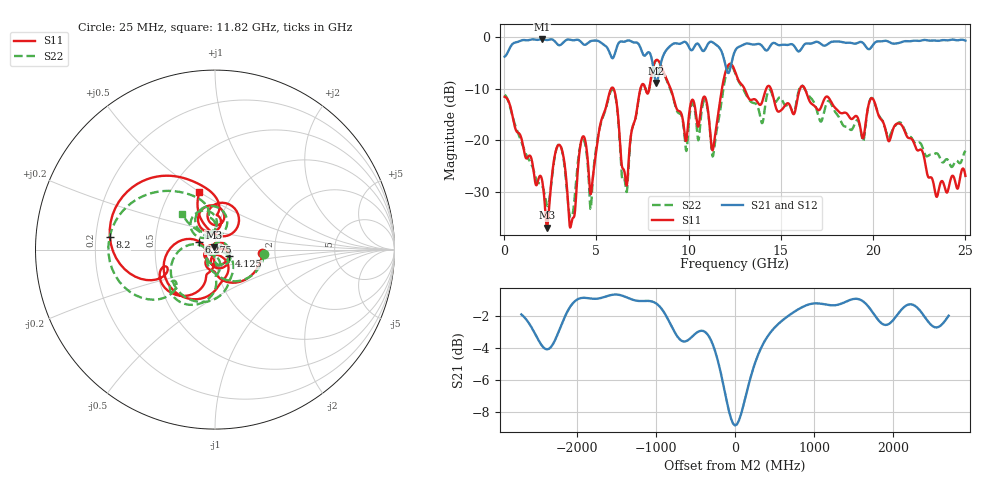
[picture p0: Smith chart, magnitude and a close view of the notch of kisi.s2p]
! RG_s4_pwr_n4: Finite board 24 × 16 mm, via L1 → L4 through the GND/PWR pair L2/L3, four GND vias at 1 mm joined to L2 only (openings in the PWR plane L3)
! stackup: 4-layer 1.6 mm FR-4
! ports: 1 L1, 2 L4
! kisi-fdtd, conformal, dfine 0.07 mm, 805736 cells
# Hz S RI R 50
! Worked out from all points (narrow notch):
!   1000 points, 25 MHz to 25 GHz, reference 50 ohm
!   highest |S21| = -0.38 dB at 2.05 GHz (marker M1); lowest = -8.9 dB at 8.25 GHz (marker M2)
!   notch at M2: 7.7 dB deep, 453 MHz wide at half that depth
!   lowest |S11| = -36.9 dB at 2.325 GHz (marker M3), VSWR 1.03, Z = 49.2 + j1.2 ohm
!   |S11| at or under -10 dB: start of sweep to 5.794 GHz; 9.025 GHz to 11.8 GHz (2.78 GHz wide, 26.7 % of centre); 16.3 GHz to end of sweep (the widest 3 of 7)
!   |S22| runs from -34.8 to -4.5 dB; largest |S21 - S12| = 0.0087
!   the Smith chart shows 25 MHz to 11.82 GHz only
!   S11 on the Smith chart (normalised r, x): 25 MHz: 1.71, -0.08; 4.125 GHz: 1.17, -0.09; 6.275 GHz: 0.84, +0.07; 8.2 GHz: 0.26, +0.06; 11.82 GHz: 0.69, +0.50
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2.5e7  0.2638 -0.0209  0.6479 0.0123  0.6415 0.0144  0.2744 -0.0234
2.05e9  -0.0375 0.0181  0.6657 -0.6877  0.6631 -0.6827  -0.0343 0.0129
2.325e9  -0.00744 0.0122  0.5606 -0.7512  0.5611 -0.7565  -0.00877 0.0218
2.975e9  0.0402 -0.0813  0.3036 -0.7778  0.2992 -0.7762  0.0534 -0.0748
3.675e9  0.0167 0.00226  0.087 -0.93  0.091 -0.9295  0.0137 0.0124
4.125e9  0.0796 -0.0371  -0.1441 -0.9024  -0.1411 -0.9002  0.0865 -0.0179
4.2e9  0.075 -0.0702  -0.1693 -0.8683  -0.1658 -0.8694  0.0864 -0.0473
4.725e9  0.0119 -0.0295  -0.2921 -0.8712  -0.2897 -0.8734  0.0203 -0.0143
5.875e9  -0.2465 -0.2114  -0.4289 -0.4539  -0.4314 -0.4545  -0.1683 -0.2629
6.275e9  -0.0881 0.0444  -0.6513 -0.6235  -0.6517 -0.6259  -0.0888 0.0265
6.6e9  -0.0335 -0.0206  -0.784 -0.4684  -0.7819 -0.4675  -0.02 -0.0274
8.2e9  -0.586 0.0713  -0.3677 0.0878  -0.3671 0.0861  -0.5743 -0.1046
8.25e9  -0.5812 0.154  -0.359 0.024  -0.3595 0.0223  -0.5928 -0.0243
8.35e9  -0.5141 0.2958  -0.4008 -0.0885  -0.4025 -0.0886  -0.5687 0.1287
9.85e9  -0.0125 0.0978  -0.7052 0.5445  -0.7066 0.5449  -0.0222 0.0783
1.0875e10  0.0776 0.2528  -0.4382 0.612  -0.4391 0.613  -0.033 0.2428
1.1325e10  0.00669 0.0823  -0.2502 0.8499  -0.2515 0.8503  -0.0154 0.0691
1.1825e10  -0.0865 0.3204  0.073 0.6913  0.0718 0.6919  -0.1812 0.1994
1.2525e10  0.4375 0.1418  -0.1979 0.7149  -0.1966 0.715  0.3348 0.2962
1.6675e10  -0.0125 -0.2251  0.8701 0.00834  0.8687 0.0078  0.0447 -0.2479
2.085e10  -0.0977 0.00846  -0.1333 -0.8896  -0.1307 -0.8885  -0.0873 -0.0631
2.5e10  0.00358 -0.0452  -0.8915 0.2472  -0.8979 0.2414  -0.0711 -0.0355
